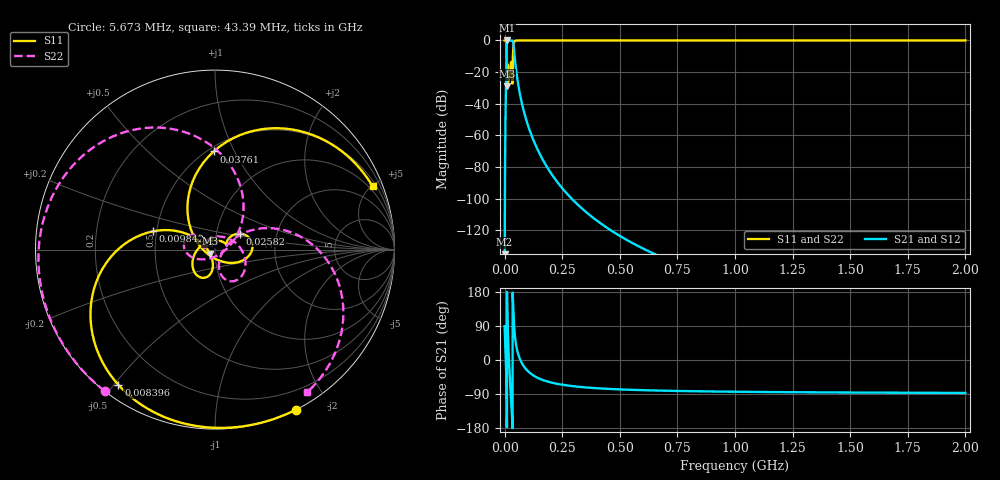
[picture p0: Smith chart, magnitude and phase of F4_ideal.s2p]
! Created with skrf 2.2.0 (http://scikit-rf.org).
# MHz S RI R 50.0
! Port[1] = P1
! Port[2] = P2
!freq ReS11 ImS11 ReS21 ImS21 ReS12 ImS12 ReS22 ImS22
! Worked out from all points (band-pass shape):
!   2001 points, 50 kHz to 2 GHz, reference 50 ohm
!   highest |S21| = -0.01 dB at 10.71 MHz (marker M1); lowest = -198.9 dB at 127.7 kHz (marker M2)
!   |S21| within 3 dB of the highest: 9.189 MHz to 38.89 MHz (29.7 MHz wide, 124 % of centre)
!   lowest |S11| = -28.9 dB at 10.71 MHz (marker M3), VSWR 1.07, Z = 47.2 - j2.1 ohm
!   |S11| at or under -10 dB: 9.924 MHz to 36.07 MHz (26.15 MHz wide, 114 % of centre)
!   |S22| runs from -28.9 to 0.0 dB; largest |S21 - S12| = 1.4e-15
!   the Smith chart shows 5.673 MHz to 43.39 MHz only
!   S11 on the Smith chart (normalised r, x): 5.673 MHz: 0.00, -1.62; 8.396 MHz: 0.05, -0.51; 9.842 MHz: 0.48, +0.11; 25.82 MHz: 1.30, +0.24; 37.61 MHz: 0.53, +0.83; 43.39 MHz: 0.76, +5.07
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0.05  1 -0.00848  1.52e-14 1.05e-12  1.52e-14 1.05e-12  0.9998 -0.0204
0.1277181  0.9998 -0.0217  4.21e-12 1.14e-10  4.21e-12 1.14e-10  0.9986 -0.0521
0.2934364  0.9988 -0.0498  6.19e-10 7.28e-09  6.19e-10 7.28e-09  0.9928 -0.1195
1.712999  0.9572 -0.2895  2.39e-05 4.44e-05  2.39e-05 4.44e-05  0.7683 -0.64
2.051125  0.9382 -0.346  6.99e-05 0.000104  6.99e-05 0.000104  0.6754 -0.7374
5.6727  0.4498 -0.8927  0.027 -0.00264  0.027 -0.00264  -0.614 -0.7889
8.395876  -0.5377 -0.7544  0.0842 -0.367  0.0842 -0.367  -0.8127 0.4447
9.842307  -0.3458 0.1016  -0.8478 -0.3889  -0.8478 -0.3889  0.1486 0.3284
10  -0.2548 0.1083  -0.924 -0.2636  -0.924 -0.2636  0.1593 0.2264
10.71306  -0.0281 -0.0222  -0.9544 0.2963  -0.9544 0.2963  0.0106 -0.0342
13.3831  -0.1259 -0.08  0.00581 0.9888  0.00581 0.9888  -0.125 0.0814
17.62829  0.0449 0.0425  0.9514 0.3018  0.9514 0.3018  -0.0612 0.00878
21.10791  0.0638 0.0271  0.8897 -0.4512  0.8897 -0.4512  -0.0159 0.0675
25.81573  0.1399 0.089  0.1816 -0.9693  0.1816 -0.9693  0.1626 -0.0323
33.46839  -0.00607 -0.0473  -0.9532 -0.2987  -0.9532 -0.2987  0.032 -0.0354
37.60603  -0.00733 0.5468  -0.6091 0.5744  -0.6091 0.5744  0.5463 0.0247
43.38957  0.8781 0.3522  0.0981 0.3087  0.0981 0.3087  0.5137 -0.7945
58.68728  0.7631 -0.6449  0.0403 0.0117  0.0403 0.0117  -0.2998 -0.9531
89.66572  0.0602 -0.9982  0.00369 -0.00147  0.00369 -0.00147  -0.7301 -0.6833
180.4523  -0.6696 -0.7427  6.23e-05 -9.16e-05  6.23e-05 -9.16e-05  -0.9368 -0.35
342.5997  -0.9024 -0.4309  1.38e-06 -4.21e-06  1.38e-06 -4.21e-06  -0.9827 -0.1854
2000  -0.9971 -0.0765  3.53e-11 -6.5e-10  3.53e-11 -6.5e-10  -0.9995 -0.0318
